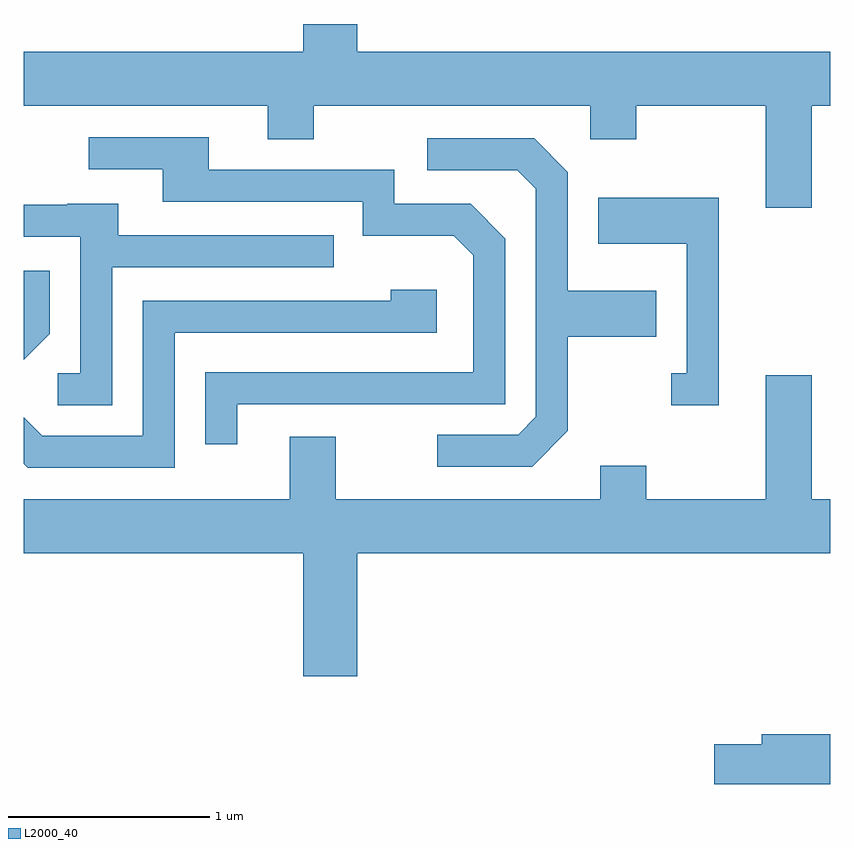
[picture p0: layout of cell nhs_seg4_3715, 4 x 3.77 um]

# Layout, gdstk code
import gdstk
lib = gdstk.Library(unit=1e-6, precision=1e-09)
def P(c, l, *ps):  # polygons
    for p in ps: c.add(gdstk.Polygon(p, *l))
L2000_40 = (2000, 40)

nhs_seg4_3715 = lib.new_cell('nhs_seg4_3715')
P(nhs_seg4_3715, L2000_40, [(297.519,1343.576),(297.611,1343.576),(297.611,1343.844),(295.264,1343.844),(295.264,1343.982),(294.996,1343.982),(294.996,1343.844),(293.611,1343.844),(293.611,1343.576),(294.821,1343.576),(294.821,1343.411),(295.049,1343.411),(295.049,1343.576),(296.421,1343.576),(296.421,1343.411),(296.649,1343.411),(296.649,1343.576),(297.291,1343.576),(297.291,1343.071),(297.519,1343.071)],
  [(294.669,1342.096),(295.999,1342.096),(295.999,1342.917),(295.827,1343.089),(295.449,1343.089),(295.449,1343.259),(294.529,1343.259),(294.529,1343.419),(293.933,1343.419),(293.933,1343.261),(294.301,1343.261),(294.301,1343.101),(295.291,1343.101),(295.291,1342.931),(295.744,1342.931),(295.841,1342.834),(295.841,1342.254),(294.511,1342.254),(294.511,1341.898),(294.669,1341.898)],
  [(296.309,1341.964),(296.309,1342.431),(296.749,1342.431),(296.749,1342.659),(296.309,1342.659),(296.309,1343.247),(296.142,1343.414),(295.613,1343.414),(295.613,1343.256),(296.059,1343.256),(296.151,1343.164),(296.151,1342.032),(296.064,1341.944),(295.663,1341.944),(295.663,1341.786),(296.132,1341.786)],
  [(297.059,1343.119),(296.461,1343.119),(296.461,1342.891),(296.901,1342.891),(296.901,1342.249),(296.823,1342.249),(296.823,1342.091),(297.059,1342.091)],
  [(294.049,1342.776),(295.148,1342.776),(295.148,1342.934),(294.079,1342.934),(294.079,1343.089),(293.825,1343.089),(293.825,1343.084),(293.611,1343.084),(293.611,1342.926),(293.891,1342.926),(293.891,1342.249),(293.778,1342.249),(293.778,1342.091),(294.049,1342.091)],
  [(293.739,1342.444),(293.739,1342.758),(293.611,1342.758),(293.611,1342.315)],
  [(294.359,1342.451),(295.659,1342.451),(295.659,1342.664),(295.431,1342.664),(295.431,1342.609),(294.201,1342.609),(294.201,1341.939),(293.702,1341.939),(293.611,1342.03),(293.611,1341.799),(293.629,1341.781),(294.359,1341.781)],
  [(294.931,1341.934),(294.931,1341.624),(293.611,1341.624),(293.611,1341.356),(294.996,1341.356),(294.996,1340.746),(295.264,1340.746),(295.264,1341.356),(297.611,1341.356),(297.611,1341.624),(297.519,1341.624),(297.519,1342.239),(297.291,1342.239),(297.291,1341.624),(296.699,1341.624),(296.699,1341.789),(296.471,1341.789),(296.471,1341.624),(295.159,1341.624),(295.159,1341.934)],
  [(297.611,1340.459),(297.271,1340.459),(297.271,1340.409),(297.036,1340.409),(297.036,1340.211),(297.611,1340.211)])

lib.write_gds('nhs_seg4_3715.gds')
